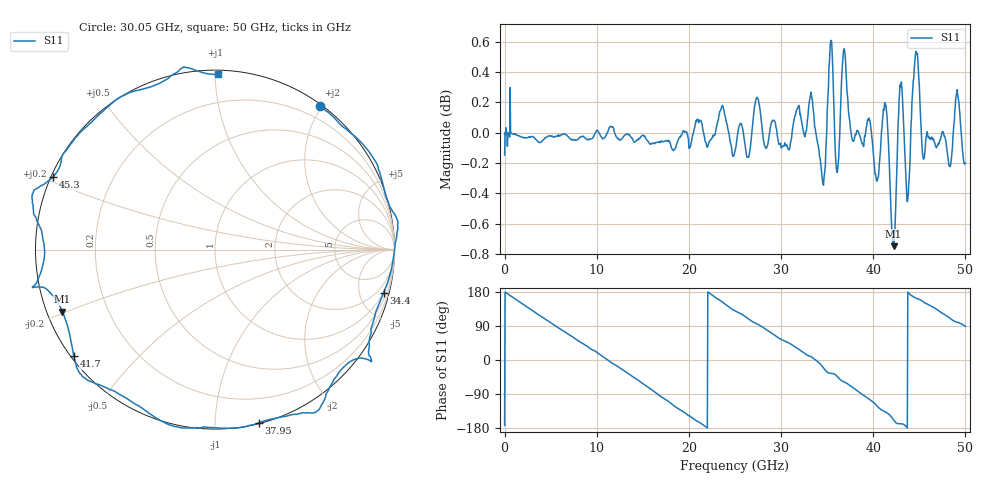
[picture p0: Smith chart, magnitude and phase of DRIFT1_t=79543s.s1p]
!Created with skrf (http://scikit-rf.org).
# Hz S RI R 50.0
!freq ReS11 ImS11
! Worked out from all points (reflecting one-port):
!   1001 points, 300 kHz to 50 GHz, reference 50 ohm
!   lowest |S11| = -0.7 dB at 42.2 GHz (marker M1), VSWR 23.25, Z = 2.23 - j9.75 ohm
!   phase of S11 starts at -173 deg and turns -818 deg over the sweep
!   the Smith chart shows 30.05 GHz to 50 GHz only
!   S11 on the Smith chart (normalised r, x): 30.05 GHz: 0.03, +1.97; 34.4 GHz: 0.96, -7.81; 37.95 GHz: 0.01, -1.29; 41.7 GHz: 0.01, -0.33; 45.3 GHz: 0.01, +0.21; 50 GHz: 0.02, +1.02
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300000  -0.9755 -0.1223
1.450291e9  -0.9125 0.4038
3.25028e9  -0.5932 0.8001
6.250262e9  0.1984 0.9786
9.500243e9  0.8874 0.4517
1.250022e10  0.9302 -0.3516
1.580021e10  0.2429 -0.9612
1.73502e10  -0.2107 -0.9708
1.875019e10  -0.5983 -0.7924
2.165017e10  -0.9904 -0.1221
2.345016e10  -0.9299 0.4119
2.500015e10  -0.6278 0.7602
2.745014e10  -0.0829 1.023
3.005012e10  0.5823 0.799
3.125011e10  0.7817 0.629
3.31501e10  1.013 0.1739
3.440009e10  0.9395 -0.2408
3.520009e10  0.8657 -0.597
3.750008e10  0.3775 -0.9309
3.795007e10  0.2457 -0.9645
3.960006e10  -0.2381 -0.9812
4.170005e10  -0.7872 -0.5916
4.220005e10  -0.8501 -0.3453
4.290004e10  -1.015 -0.2105
4.375004e10  -0.9508 0.0108
4.530003e10  -0.9017 0.4053
4.765001e10  -0.5134 0.8565
5e10  0.0184 0.977
